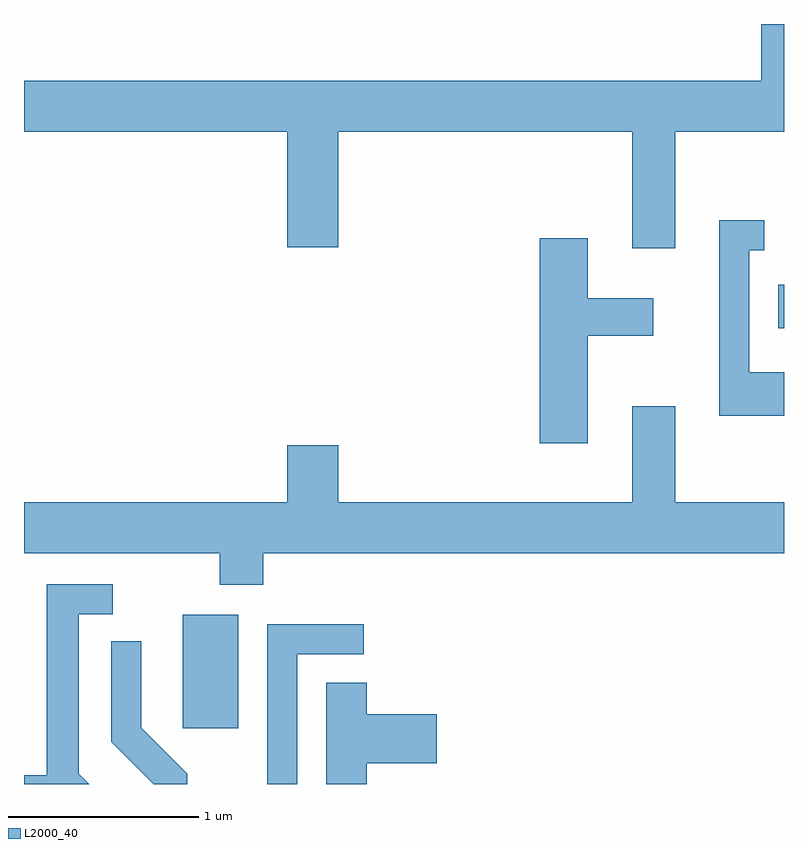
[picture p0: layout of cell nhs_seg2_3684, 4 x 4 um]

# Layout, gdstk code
import gdstk
lib = gdstk.Library(unit=1e-6, precision=1e-09)
def R(c, l, rs):  # rectangles x0, y0, x1, y1
    for r in rs: c.add(gdstk.rectangle(r[:2], r[2:], *l))
def P(c, l, *ps):  # polygons
    for p in ps: c.add(gdstk.Polygon(p, *l))
L2000_40 = (2000, 40)

nhs_seg2_3684 = lib.new_cell('nhs_seg2_3684')
R(nhs_seg2_3684, L2000_40, [(294.446,1014.096,294.739,1014.694), (297.581,1016.201,297.611,1016.429)])
P(nhs_seg2_3684, L2000_40, [(297.039,1017.236),(297.611,1017.236),(297.611,1017.802),(297.491,1017.802),(297.491,1017.504),(293.611,1017.504),(293.611,1017.236),(294.996,1017.236),(294.996,1016.626),(295.264,1016.626),(295.264,1017.236),(296.811,1017.236),(296.811,1016.621),(297.039,1016.621)],
  [(297.611,1015.969),(297.429,1015.969),(297.429,1016.611),(297.508,1016.611),(297.508,1016.769),(297.271,1016.769),(297.271,1015.741),(297.611,1015.741)],
  [(296.579,1016.161),(296.924,1016.161),(296.924,1016.359),(296.579,1016.359),(296.579,1016.674),(296.326,1016.674),(296.326,1015.596),(296.579,1015.596)],
  [(297.611,1015.284),(297.039,1015.284),(297.039,1015.789),(296.811,1015.789),(296.811,1015.284),(295.264,1015.284),(295.264,1015.584),(294.996,1015.584),(294.996,1015.284),(293.611,1015.284),(293.611,1015.016),(294.641,1015.016),(294.641,1014.851),(294.869,1014.851),(294.869,1015.016),(297.611,1015.016)],
  [(293.899,1013.857),(293.899,1014.696),(294.078,1014.696),(294.078,1014.854),(293.731,1014.854),(293.731,1013.849),(293.611,1013.849),(293.611,1013.802),(293.954,1013.802)],
  [(295.049,1014.486),(295.398,1014.486),(295.398,1014.644),(294.891,1014.644),(294.891,1013.802),(295.049,1013.802)],
  [(294.469,1013.857),(294.229,1014.097),(294.229,1014.553),(294.071,1014.553),(294.071,1014.024),(294.293,1013.802),(294.469,1013.802)],
  [(295.414,1013.911),(295.784,1013.911),(295.784,1014.169),(295.414,1014.169),(295.414,1014.334),(295.201,1014.334),(295.201,1013.802),(295.414,1013.802)])

lib.write_gds('nhs_seg2_3684.gds')
